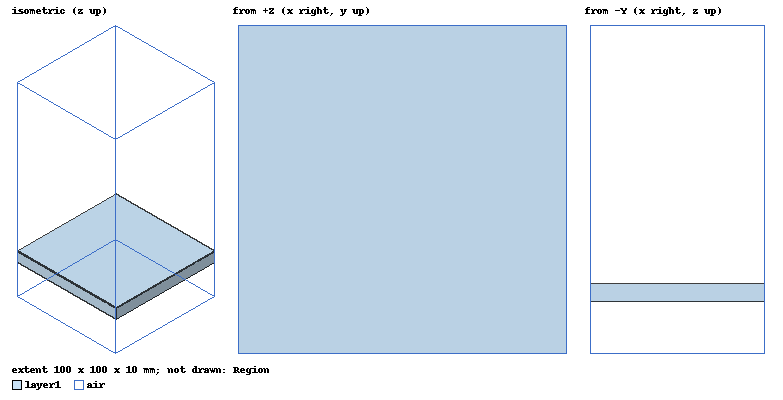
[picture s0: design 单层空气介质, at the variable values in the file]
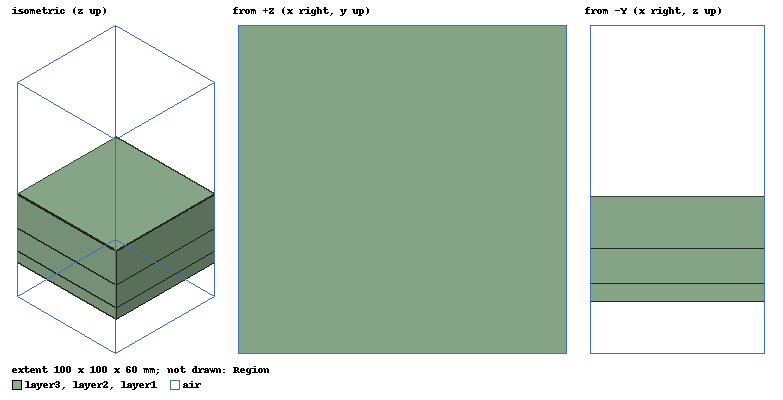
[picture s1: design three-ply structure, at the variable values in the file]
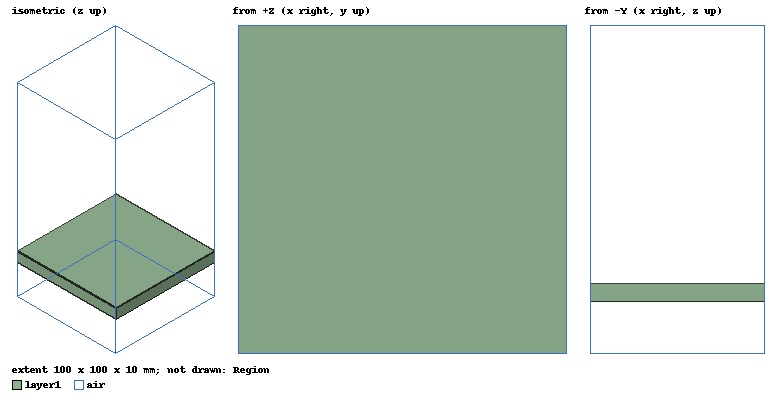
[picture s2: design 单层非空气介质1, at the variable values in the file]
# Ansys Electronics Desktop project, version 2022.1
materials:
  vacuum: permittivity=1
  Material1: permittivity=2.3
  Material2: permittivity=3.3
  Material3: permittivity=4.3

design 单层空气介质 (HFSS, DrivenModal, model units mm)
options: Save_Adaptive_support_files
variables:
  a = 100mm
  b = a
  c = 187.5mm
  d1 = 10mm
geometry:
  air [vacuum] = box(corner=(0mm, 0mm, 0mm), size=(a, b, c))
  Region [vacuum] = region(absolute_offset: +X=0mm, -X=0mm, +Y=0mm, -Y=0mm, +Z=20mm, -Z=20mm)
  Polyline1 [non-model] = polyline((a/2, a/2, -20mm) (a/2, a/2, 2*a+20mm))
  [air, Polyline1].move(0mm, 0mm, 20mm)
  Polyline2 [non-model] = polyline((a/2, 0, 0) (a/2, a/2, 0))
  layer1 [vacuum] = box(corner=(0mm, 0mm, 50mm), size=(a, b, d1))
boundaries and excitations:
  Primary1: Primary Faces=Region.face(+y) CoordSysVector{(0, 100, 0) -> (100, 100, 0)}
  Primary2: Primary Faces=Region.face(-x) CoordSysVector{(0, 100, 0) -> (0, 0, 0)} ReverseV
  Secondary1: Secondary Faces=Region.face(-y) CoordSysVector{(0, 0, 0) -> (100, 0, 0)} ReverseV primary=Primary1 PhaseDelay=UseScanAngle Phi=0deg Theta=0deg
  Secondary2: Secondary Faces=Region.face(+x) CoordSysVector{(100, 100, 0) -> (100, 0, 0)} primary=Primary2 PhaseDelay=UseScanAngle Phi=0deg Theta=0deg
  Rad1: Radiation Faces=Region.face(+z)
  Rad2: Radiation Faces=Region.face(-z)
  IncPWave1: Plane Incident Wave IsCartesian EoX=1 EoY=0 EoZ=0 kX=0 kY=0 kZ=1 OriginX=0mm OriginY=0mm OriginZ=0mm IsPropagating
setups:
  Setup1: HfssDriven Frequency=2.4GHz MaxDeltaE=0.1 MaximumPasses=6 MinimumPasses=1 MinimumConvergedPasses=1 PercentRefinement=30 BasisOrder=1 DrivenSolverType="Direct Solver"
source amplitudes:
  IncPWave1:1: 1V_per_meter 0deg
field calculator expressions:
  P_av = Vector_RealPoynting | Mag
  P_t = Vector_E | Vector_H | Cross
  Mag_P_t = P_t | Mag
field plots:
  瞬时能流密度: power density (t) on Setup1 : LastAdaptive at Freq=2.4GHz Phase=0deg
  平均能流密度: Poynting on Setup1 : LastAdaptive at Freq=2.4GHz Phase=0deg
  瞬时电场, Vector_E1: E Field on Setup1 : LastAdaptive at Freq=2.4GHz Phase=0deg
  瞬时磁场: H Field on Setup1 : LastAdaptive at Freq=2.4GHz Phase=0deg
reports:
  E&H振幅: ComplexMag_E, ComplexMag_H vs Distance on Setup1 : LastAdaptive [Freq=2.4GHz Phase=0deg]
  平均功率流密度: P_av vs Distance on Setup1 : LastAdaptive [Freq=2.4GHz Phase=0deg]
  瞬时电磁场: Mag_E, Mag_H vs Distance on Setup1 : LastAdaptive [Freq=2.4GHz Phase=0deg]; markers MX1 at x=0
  瞬时功率流密度: Mag_P_t vs Distance on Setup1 : LastAdaptive [Freq=2.4GHz Phase=0deg]

design three-ply structure (HFSS, DrivenModal, model units mm)
options: Save_Adaptive_support_files
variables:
  a = 100mm
  b = a
  c = 187.5mm
  d1 = 10mm
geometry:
  air [vacuum] = box(corner=(0mm, 0mm, 0mm), size=(a, b, c))
  Region [vacuum] = region(absolute_offset: +X=0mm, -X=0mm, +Y=0mm, -Y=0mm, +Z=20mm, -Z=20mm)
  Polyline1 [non-model] = polyline((a/2, a/2, -20mm) (a/2, a/2, 2*a+20mm))
  [air, Polyline1].move(0mm, 0mm, 20mm)
  Polyline2 [non-model] = polyline((a/2, 0, 0) (a/2, a/2, 0))
  layer1 [Material1] = box(corner=(0mm, 0mm, 50mm), size=(a, b, d1))
  layer2 [Material2] = box(corner=(0mm, 0mm, 60mm), size=(a, b, 20mm))
  layer3 [Material3] = box(corner=(0mm, 0mm, 80mm), size=(a, b, 30mm))
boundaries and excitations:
  Primary1: Primary Faces=Region.face(+y) CoordSysVector{(0, 100, 0) -> (100, 100, 0)}
  Primary2: Primary Faces=Region.face(-x) CoordSysVector{(0, 100, 0) -> (0, 0, 0)} ReverseV
  Secondary1: Secondary Faces=Region.face(-y) CoordSysVector{(0, 0, 0) -> (100, 0, 0)} ReverseV primary=Primary1 PhaseDelay=UseScanAngle Phi=0deg Theta=0deg
  Secondary2: Secondary Faces=Region.face(+x) CoordSysVector{(100, 100, 0) -> (100, 0, 0)} primary=Primary2 PhaseDelay=UseScanAngle Phi=0deg Theta=0deg
  Rad1: Radiation Faces=Region.face(+z)
  Rad2: Radiation Faces=Region.face(-z)
  IncPWave1: Plane Incident Wave IsCartesian EoX=1 EoY=0 EoZ=0 kX=0 kY=0 kZ=1 OriginX=0mm OriginY=0mm OriginZ=0mm IsPropagating
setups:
  Setup1: HfssDriven Frequency=2.4GHz MaxDeltaE=0.1 MaximumPasses=10 MinimumPasses=1 MinimumConvergedPasses=1 PercentRefinement=30 BasisOrder=1 DrivenSolverType="Direct Solver"
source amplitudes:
  IncPWave1:1: 1V_per_meter 0deg
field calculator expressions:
  P_av = Vector_RealPoynting | Mag
  P_t = Vector_E | Vector_H | Cross
  Mag_P_t = P_t | Mag
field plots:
  瞬时能流密度: power density (t) on Setup1 : LastAdaptive at Freq=2.4GHz Phase=0deg
  平均能流密度: Poynting on Setup1 : LastAdaptive at Freq=2.4GHz Phase=0deg
  瞬时电场, Vector_E1: E Field on Setup1 : LastAdaptive at Freq=2.4GHz Phase=0deg
  瞬时磁场: H Field on Setup1 : LastAdaptive at Freq=2.4GHz Phase=0deg
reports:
  E&H振幅: ComplexMag_E, ComplexMag_H vs Distance on Setup1 : LastAdaptive [Freq=2.4GHz Phase=0deg]
  平均功率流密度: P_av vs Distance on Setup1 : LastAdaptive [Freq=2.4GHz Phase=0deg]
  瞬时电磁场: Mag_E, Mag_H vs Distance on Setup1 : LastAdaptive [Freq=2.4GHz Phase=0deg]; markers MX1 at x=0
  瞬时功率流密度: Mag_P_t vs Distance on Setup1 : LastAdaptive [Freq=2.4GHz Phase=0deg]
  Calculator Expressions Plot 1: Mag_E vs Distance on Setup1 : LastAdaptive [Freq=2.4GHz Phase=90deg]

design 单层非空气介质1 (HFSS, DrivenModal, model units mm)
options: Save_Adaptive_support_files
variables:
  a = 100mm
  b = a
  c = 187.5mm
  d1 = 10mm
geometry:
  air [vacuum] = box(corner=(0mm, 0mm, 0mm), size=(a, b, c))
  Region [vacuum] = region(absolute_offset: +X=0mm, -X=0mm, +Y=0mm, -Y=0mm, +Z=20mm, -Z=20mm)
  Polyline1 [non-model] = polyline((a/2, a/2, -20mm) (a/2, a/2, 2*a+20mm))
  [air, Polyline1].move(0mm, 0mm, 20mm)
  Polyline2 [non-model] = polyline((a/2, 0, 0) (a/2, a/2, 0))
  layer1 [Material1] = box(corner=(0mm, 0mm, 50mm), size=(a, b, d1))
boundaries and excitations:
  Primary1: Primary Faces=Region.face(+y) CoordSysVector{(0, 100, 0) -> (100, 100, 0)}
  Primary2: Primary Faces=Region.face(-x) CoordSysVector{(0, 100, 0) -> (0, 0, 0)} ReverseV
  Secondary1: Secondary Faces=Region.face(-y) CoordSysVector{(0, 0, 0) -> (100, 0, 0)} ReverseV primary=Primary1 PhaseDelay=UseScanAngle Phi=0deg Theta=0deg
  Secondary2: Secondary Faces=Region.face(+x) CoordSysVector{(100, 100, 0) -> (100, 0, 0)} primary=Primary2 PhaseDelay=UseScanAngle Phi=0deg Theta=0deg
  Rad1: Radiation Faces=Region.face(+z)
  Rad2: Radiation Faces=Region.face(-z)
  IncPWave1: Plane Incident Wave IsCartesian EoX=1 EoY=0 EoZ=0 kX=0 kY=0 kZ=1 OriginX=0mm OriginY=0mm OriginZ=0mm IsPropagating
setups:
  Setup1: HfssDriven Frequency=2.4GHz MaxDeltaE=0.1 MaximumPasses=10 MinimumPasses=1 MinimumConvergedPasses=1 PercentRefinement=30 BasisOrder=1 DrivenSolverType="Direct Solver"
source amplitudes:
  IncPWave1:1: 1V_per_meter 0deg
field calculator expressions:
  P_av = Vector_RealPoynting | Mag
  P_t = Vector_E | Vector_H | Cross
  Mag_P_t = P_t | Mag
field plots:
  瞬时能流密度: power density (t) on Setup1 : LastAdaptive at Freq=2.4GHz Phase=0deg
  平均能流密度: Poynting on Setup1 : LastAdaptive at Freq=2.4GHz Phase=0deg
  瞬时电场, Vector_E1: E Field on Setup1 : LastAdaptive at Freq=2.4GHz Phase=0deg
  瞬时磁场: H Field on Setup1 : LastAdaptive at Freq=2.4GHz Phase=0deg
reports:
  E&H振幅: ComplexMag_E, ComplexMag_H vs Distance on Setup1 : LastAdaptive [Freq=2.4GHz Phase=0deg]
  平均功率流密度: P_av vs Distance on Setup1 : LastAdaptive [Freq=2.4GHz Phase=0deg]
  瞬时电磁场: Mag_E, Mag_H vs Distance on Setup1 : LastAdaptive [Freq=2.4GHz Phase=0deg]; markers MX1 at x=0
  瞬时功率流密度: Mag_P_t vs Distance on Setup1 : LastAdaptive [Freq=2.4GHz Phase=0deg]
